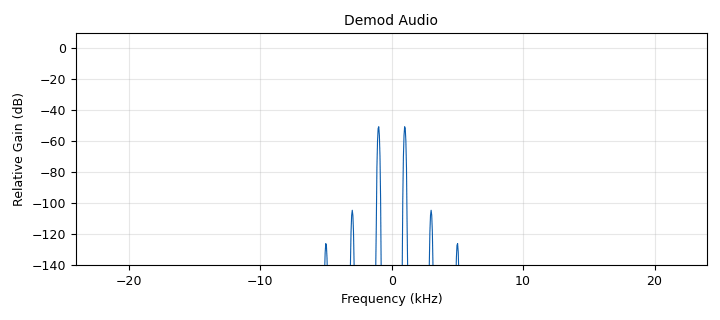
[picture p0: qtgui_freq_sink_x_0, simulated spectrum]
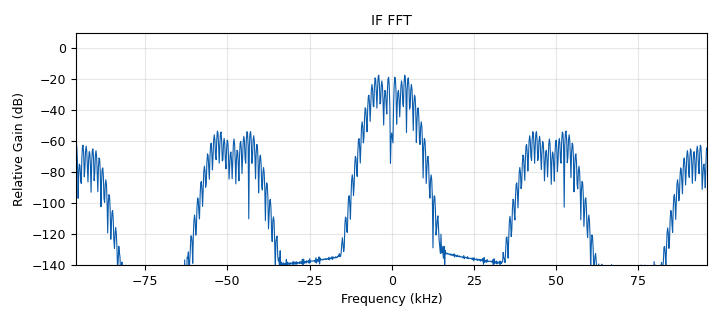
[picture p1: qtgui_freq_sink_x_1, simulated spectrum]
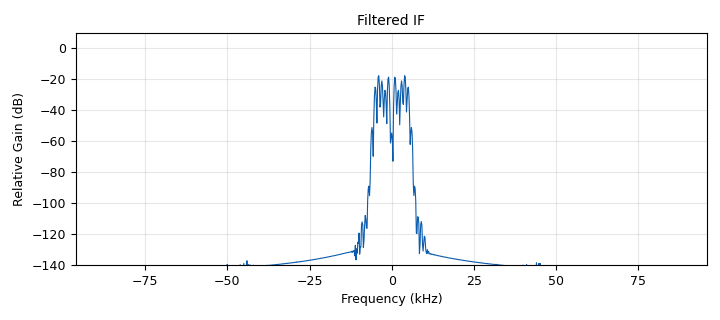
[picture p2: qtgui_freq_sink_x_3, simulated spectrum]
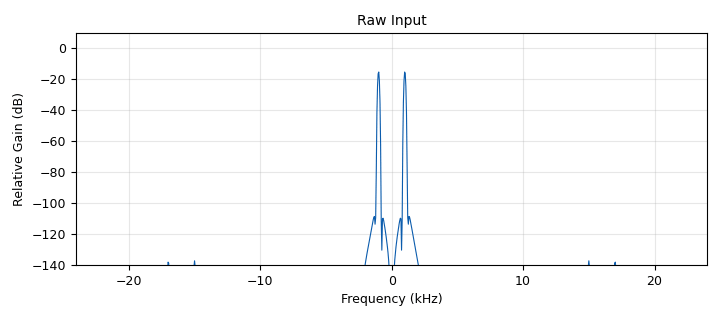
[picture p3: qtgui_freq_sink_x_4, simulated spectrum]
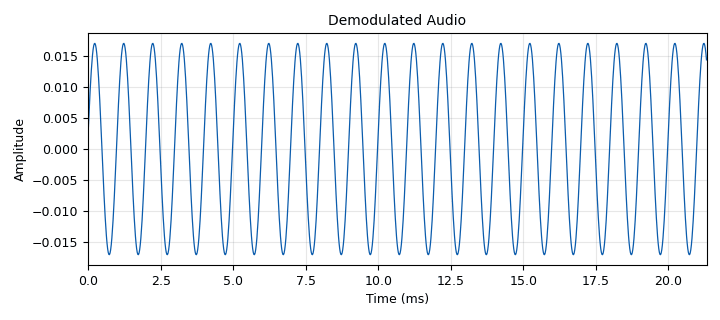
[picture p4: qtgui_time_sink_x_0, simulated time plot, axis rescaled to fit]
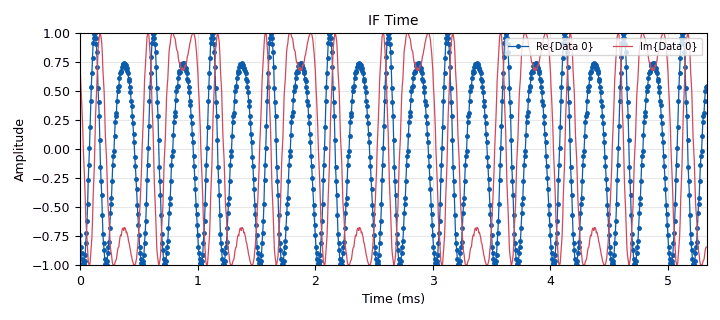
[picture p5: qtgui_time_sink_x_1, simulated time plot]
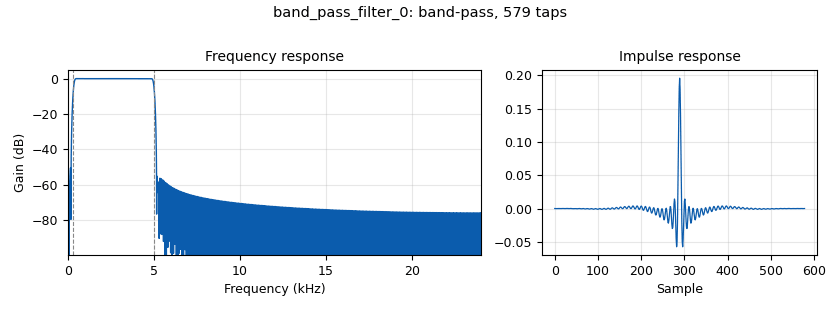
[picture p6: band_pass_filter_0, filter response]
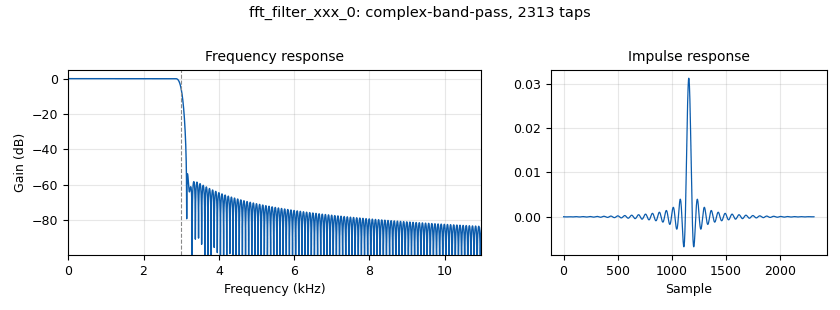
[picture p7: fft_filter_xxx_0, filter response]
options:
  parameters:
    generate_options: qt_gui
    id: narrowband_fm
    output_language: python
    title: Not titled yet
  states: {}

blocks:
- name: audio_gain_rx
  id: variable_qtgui_range
  parameters:
    label: Audio Gain Rx
    start: '0'
    step: '50e-3'
    stop: '1'
    value: '50e-3'
  states: {}
- name: audio_gain_tx
  id: variable_qtgui_range
  parameters:
    label: Audio Gain Tx
    start: '0'
    step: '50e-3'
    stop: '10'
    value: '1'
  states: {}
- name: audio_samp_rate
  id: variable
  parameters:
    value: '48000'
  states: {}
- name: if_samp_rate
  id: variable
  parameters:
    value: 192e3
  states: {}
- name: taps
  id: variable_band_pass_filter_taps
  parameters:
    gain: '1.0'
    high_cutoff_freq: 3e3
    low_cutoff_freq: '-3e3'
    samp_rate: if_samp_rate
    type: complex_band_pass
    width: '200'
    win: window.WIN_HAMMING
  states: {}
- name: analog_nbfm_rx_0
  id: analog_nbfm_rx
  parameters:
    audio_rate: int(audio_samp_rate)
    max_dev: 5e3
    quad_rate: int(if_samp_rate)
    tau: '75e-6'
  states: {}
- name: analog_nbfm_tx_0
  id: analog_nbfm_tx
  parameters:
    audio_rate: int(audio_samp_rate)
    fh: '-1.0'
    max_dev: 5e3
    quad_rate: '192000'
    tau: '75e-6'
  states: {}
- name: analog_sig_source_x_0
  id: analog_sig_source_x
  parameters:
    amp: '1'
    freq: '1000'
    offset: '0'
    phase: '0'
    samp_rate: audio_samp_rate
    type: float
    waveform: analog.GR_COS_WAVE
  states: {}
- name: analog_simple_squelch_cc_0
  id: analog_simple_squelch_cc
  parameters:
    alpha: '1'
    threshold: '-50'
  states: {}
- name: audio_sink_0
  id: audio_sink
  parameters:
    samp_rate: '48000'
  states: {}
- name: band_pass_filter_0
  id: band_pass_filter
  parameters:
    decim: '1'
    gain: '1'
    high_cutoff_freq: 5e3
    low_cutoff_freq: '300'
    samp_rate: audio_samp_rate
    type: fir_filter_fff
    width: '200'
    win: window.WIN_HAMMING
  states: {}
- name: blocks_multiply_const_vxx_0
  id: blocks_multiply_const_vxx
  parameters:
    const: audio_gain_tx
    type: float
  states: {}
- name: blocks_multiply_const_vxx_1
  id: blocks_multiply_const_vxx
  parameters:
    const: audio_gain_rx
    type: float
  states: {}
- name: blocks_throttle2_0
  id: blocks_throttle2
  parameters:
    samples_per_second: audio_samp_rate
    type: float
  states: {}
- name: blocks_wavfile_source_0
  id: blocks_wavfile_source
  parameters:
    file: C:\Users\mmprk\Music\fishing_boats.wav
    repeat: 'True'
  states: {state: disabled}
- name: fft_filter_xxx_0
  id: fft_filter_xxx
  parameters:
    decim: '1'
    taps: taps
    type: ccc
  states: {}
- name: low_pass_filter_0
  id: low_pass_filter
  parameters:
    cutoff_freq: 5e3
    decim: '1'
    gain: '1'
    samp_rate: if_samp_rate
    type: fir_filter_ccf
    width: 2e3
    win: window.WIN_HAMMING
  states: {}
- name: qtgui_freq_sink_x_0
  id: qtgui_freq_sink_x
  parameters:
    bw: audio_samp_rate
    fc: '0'
    fftsize: '1024'
    name: '"Demod Audio"'
    type: float
  states: {}
- name: qtgui_freq_sink_x_1
  id: qtgui_freq_sink_x
  parameters:
    bw: if_samp_rate
    fc: '0'
    fftsize: '1024'
    name: '"IF FFT"'
    type: complex
  states: {}
- name: qtgui_freq_sink_x_2
  id: qtgui_freq_sink_x
  parameters:
    bw: audio_samp_rate
    fc: '0'
    fftsize: '1024'
    name: '"Audio In"'
    type: float
  states: {state: disabled}
- name: qtgui_freq_sink_x_3
  id: qtgui_freq_sink_x
  parameters:
    bw: if_samp_rate
    fc: '0'
    fftsize: '1024'
    name: '"Filtered IF"'
    type: complex
  states: {}
- name: qtgui_freq_sink_x_4
  id: qtgui_freq_sink_x
  parameters:
    bw: audio_samp_rate
    fc: '0'
    fftsize: '1024'
    name: '"Raw Input"'
    type: float
  states: {}
- name: qtgui_time_sink_x_0
  id: qtgui_time_sink_x
  parameters:
    name: '"Demodulated Audio"'
    size: '1024'
    srate: audio_samp_rate
    type: float
  states: {}
- name: qtgui_time_sink_x_1
  id: qtgui_time_sink_x
  parameters:
    ctrlpanel: 'True'
    marker1: '0'
    name: '"IF Time"'
    size: '1024'
    srate: if_samp_rate
    type: complex
  states: {}
- name: virtual_sink_0
  id: virtual_sink
  parameters:
    stream_id: tag1
  states: {}
- name: virtual_sink_1
  id: virtual_sink
  parameters:
    stream_id: Rx
  states: {}
- name: virtual_source_0
  id: virtual_source
  parameters:
    stream_id: tag1
  states: {}
- name: virtual_source_1
  id: virtual_source
  parameters:
    stream_id: Rx
  states: {}

connections:
- [analog_nbfm_rx_0, '0', blocks_multiply_const_vxx_1, '0']
- [analog_nbfm_tx_0, '0', qtgui_freq_sink_x_1, '0']
- [analog_nbfm_tx_0, '0', qtgui_time_sink_x_1, '0']
- [analog_nbfm_tx_0, '0', virtual_sink_0, '0']
- [analog_sig_source_x_0, '0', blocks_throttle2_0, '0']
- [analog_simple_squelch_cc_0, '0', analog_nbfm_rx_0, '0']
- [band_pass_filter_0, '0', blocks_multiply_const_vxx_0, '0']
- [blocks_multiply_const_vxx_0, '0', analog_nbfm_tx_0, '0']
- [blocks_multiply_const_vxx_1, '0', audio_sink_0, '0']
- [blocks_multiply_const_vxx_1, '0', qtgui_freq_sink_x_0, '0']
- [blocks_multiply_const_vxx_1, '0', qtgui_time_sink_x_0, '0']
- [blocks_throttle2_0, '0', band_pass_filter_0, '0']
- [blocks_throttle2_0, '0', qtgui_freq_sink_x_4, '0']
- [blocks_wavfile_source_0, '0', band_pass_filter_0, '0']
- [blocks_wavfile_source_0, '0', qtgui_freq_sink_x_2, '0']
- [fft_filter_xxx_0, '0', analog_simple_squelch_cc_0, '0']
- [low_pass_filter_0, '0', qtgui_freq_sink_x_3, '0']
- [low_pass_filter_0, '0', virtual_sink_1, '0']
- [virtual_source_0, '0', low_pass_filter_0, '0']
- [virtual_source_1, '0', fft_filter_xxx_0, '0']

metadata:
  file_format: 1
  grc_version: 3.10.6.0
